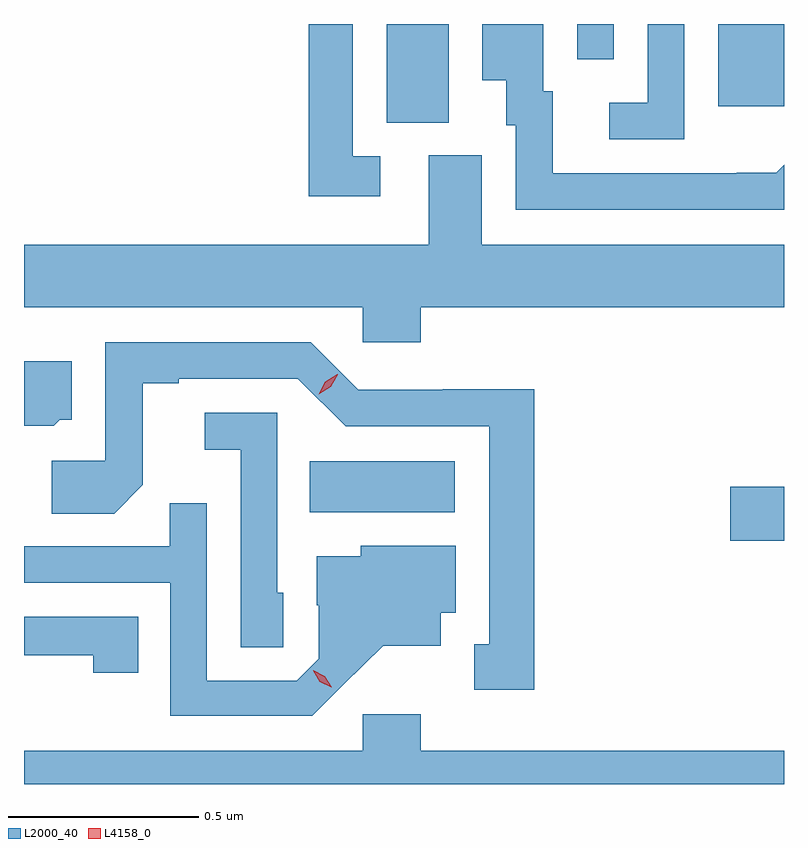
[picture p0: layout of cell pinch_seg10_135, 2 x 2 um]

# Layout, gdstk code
import gdstk
lib = gdstk.Library(unit=1e-6, precision=1e-09)
def R(c, l, rs):  # rectangles x0, y0, x1, y1
    for r in rs: c.add(gdstk.rectangle(r[:2], r[2:], *l))
def P(c, l, *ps):  # polygons
    for p in ps: c.add(gdstk.Polygon(p, *l))
L2000_40 = (2000, 40)
L4158_0 = (4158, 0)

pinch_seg10_135 = lib.new_cell('pinch_seg10_135')
R(pinch_seg10_135, L2000_40, [(713.454,1287.713,713.596,1287.855), (712.348,1287.788,712.729,1287.922), (712.55,1288.813,712.714,1289.073), (713.423,1288.857,713.596,1289.073), (713.052,1288.98,713.148,1289.073)])
P(pinch_seg10_135, L2000_40, [(713.334,1289.073),(713.238,1289.073),(713.238,1288.866),(713.136,1288.866),(713.136,1288.77),(713.334,1288.77)],
  [(713.596,1288.702),(713.575,1288.681),(713.471,1288.681),(713.471,1288.68),(712.987,1288.68),(712.987,1288.896),(712.963,1288.896),(712.963,1289.073),(712.802,1289.073),(712.802,1288.925),(712.865,1288.925),(712.865,1288.806),(712.89,1288.806),(712.89,1288.584),(713.596,1288.584)],
  [(712.534,1288.725),(712.461,1288.725),(712.461,1289.073),(712.345,1289.073),(712.345,1288.62),(712.534,1288.62)],
  [(712.64,1288.328),(713.596,1288.328),(713.596,1288.492),(712.801,1288.492),(712.801,1288.728),(712.661,1288.728),(712.661,1288.492),(711.596,1288.492),(711.596,1288.328),(712.488,1288.328),(712.488,1288.235),(712.64,1288.235)],
  [(712.939,1288.112),(712.698,1288.112),(712.698,1288.11),(712.476,1288.11),(712.35,1288.236),(711.81,1288.236),(711.81,1287.924),(711.669,1287.924),(711.669,1287.784),(711.833,1287.784),(711.909,1287.86),(711.909,1288.128),(712.003,1288.128),(712.003,1288.14),(712.317,1288.14),(712.443,1288.014),(712.82,1288.014),(712.82,1287.441),(712.781,1287.441),(712.781,1287.321),(712.939,1287.321)],
  [(711.69,1288.032),(711.721,1288.032),(711.721,1288.186),(711.596,1288.186),(711.596,1288.016),(711.674,1288.016)],
  [(712.278,1287.576),(712.263,1287.576),(712.263,1288.05),(712.071,1288.05),(712.071,1287.953),(712.167,1287.953),(712.167,1287.433),(712.278,1287.433)],
  [(712.438,1287.335),(712.541,1287.437),(712.693,1287.437),(712.693,1287.524),(712.732,1287.524),(712.732,1287.7),(712.482,1287.7),(712.482,1287.673),(712.367,1287.673),(712.367,1287.544),(712.371,1287.544),(712.371,1287.402),(712.314,1287.345),(712.077,1287.345),(712.077,1287.812),(711.979,1287.812),(711.979,1287.699),(711.596,1287.699),(711.596,1287.603),(711.981,1287.603),(711.981,1287.252),(712.354,1287.252)],
  [(711.896,1287.513),(711.596,1287.513),(711.596,1287.412),(711.778,1287.412),(711.778,1287.366),(711.896,1287.366)],
  [(713.596,1287.16),(712.64,1287.16),(712.64,1287.256),(712.488,1287.256),(712.488,1287.16),(711.596,1287.16),(711.596,1287.073),(713.596,1287.073)])
P(pinch_seg10_135, L4158_0, [(712.372,1288.099),(712.372,1288.099),(712.389,1288.131),(712.42,1288.151),(712.421,1288.151),(712.421,1288.15),(712.403,1288.118),(712.372,1288.099)],
  [(712.405,1287.327),(712.374,1287.342),(712.357,1287.371),(712.357,1287.372),(712.357,1287.372),(712.388,1287.357),(712.406,1287.327),(712.406,1287.327)])

lib.write_gds('pinch_seg10_135.gds')
